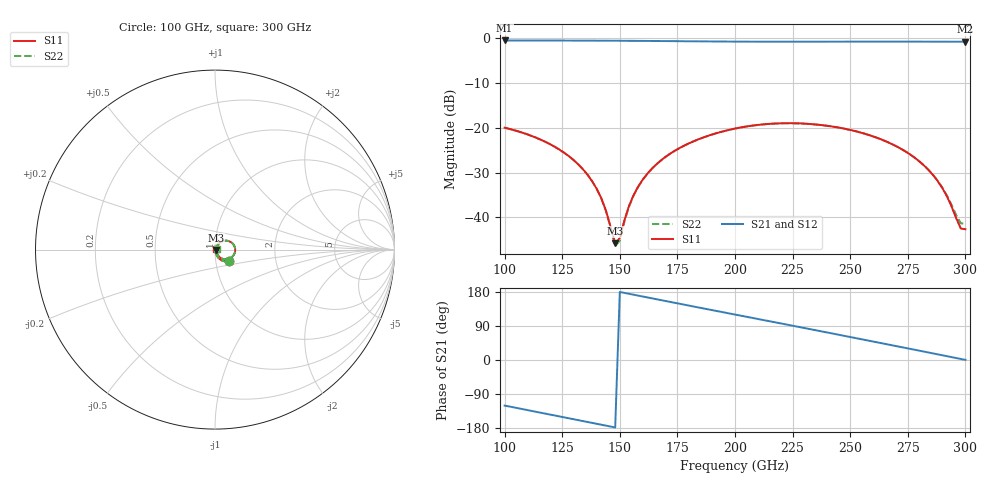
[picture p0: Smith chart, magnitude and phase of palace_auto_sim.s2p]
#  GHZ S DB R 50
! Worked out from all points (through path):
!   101 points, 100 GHz to 300 GHz, reference 50 ohm
!   highest |S21| = -0.49 dB at 100 GHz (marker M1); lowest = -0.8 dB at 300 GHz (marker M2)
!   group delay of S21, straight-line fit = 3.31 ps
!   lowest |S11| = -45.8 dB at 148 GHz (marker M3), VSWR 1.01, Z = 50.5 - j0.194 ohm
!   |S11| at or under -10 dB: start of sweep to end of sweep
!   |S22| runs from -46.4 to -19.0 dB; largest |S21 - S12| = 1.6e-13
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100  -19.98 -40.0  -0.49 -120.3  -0.49 -120.3  -19.97 -40.2
120  -23.73 -60.5  -0.51 -144.3  -0.51 -144.3  -23.72 -60.9
134  -29.25 -72.1  -0.52 -161.2  -0.52 -161.2  -29.24 -72.9
138  -31.92 -73.6  -0.53 -166.0  -0.53 -166.0  -31.92 -74.5
142  -35.77 -71.6  -0.54 -170.8  -0.54 -170.8  -35.79 -73.1
144  -38.51 -66.9  -0.54 -173.2  -0.54 -173.2  -38.56 -68.9
148  -45.81 -22.0  -0.55 -178.0  -0.55 -178.0  -46.43 -24.4
150  -44.60 25.4  -0.56 179.5  -0.56 179.5  -45.17 26.8
154  -37.44 56.2  -0.57 174.7  -0.57 174.7  -37.59 57.6
158  -33.10 60.5  -0.58 169.9  -0.58 169.9  -33.16 61.4
168  -27.21 56.1  -0.62 157.9  -0.62 157.9  -27.24 56.5
182  -23.01 43.7  -0.68 141.2  -0.68 141.2  -23.02 44.0
200  -20.16 25.0  -0.74 119.9  -0.74 119.9  -20.17 25.2
218  -19.03 4.4  -0.76 98.7  -0.76 98.7  -19.04 4.6
234  -19.20 -14.0  -0.76 79.8  -0.76 79.8  -19.21 -13.8
250  -20.47 -32.0  -0.75 60.7  -0.75 60.7  -20.47 -31.7
268  -23.60 -51.0  -0.75 39.0  -0.75 39.0  -23.60 -50.4
278  -26.68 -59.9  -0.75 27.0  -0.75 27.0  -26.67 -58.9
286  -30.57 -64.0  -0.76 17.3  -0.76 17.3  -30.52 -62.2
292  -35.32 -60.3  -0.77 10.1  -0.77 10.1  -35.12 -57.1
298  -42.49 -20.2  -0.78 2.8  -0.78 2.8  -41.34 -17.5
300  -42.64 11.6  -0.78 0.4  -0.78 0.4  -41.39 9.8
